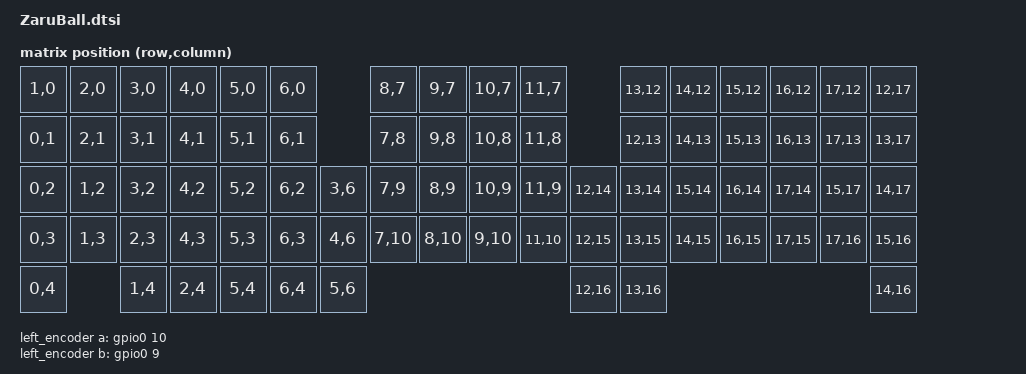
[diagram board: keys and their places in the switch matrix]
#include <dt-bindings/zmk/matrix_transform.h>

// chosen node
/ {
    chosen {
        zmk,kscan = &kscan0;
        zmk,matrix_transform = &default_transform;
    };
};

//matrix transform (Row is always the driver pin)
/ {
    default_transform: keymap_transform0 {
        compatible = "zmk,matrix-transform";
        columns = <16>;
        rows = <18>;
        map = <
            RC(1,0) RC(2,0) RC(3,0) RC(4,0) RC(5,0) RC(6,0)           RC(8,7)  RC(9,7)  RC(10,7) RC(11,7)               RC(13,12) RC(14,12) RC(15,12) RC(16,12) RC(17,12) RC(12,17)
            RC(0,1) RC(2,1) RC(3,1) RC(4,1) RC(5,1) RC(6,1)           RC(7,8)  RC(9,8)  RC(10,8) RC(11,8)               RC(12,13) RC(14,13) RC(15,13) RC(16,13) RC(17,13) RC(13,17)
            RC(0,2) RC(1,2) RC(3,2) RC(4,2) RC(5,2) RC(6,2) RC(3,6)   RC(7,9)  RC(8,9)  RC(10,9) RC(11,9)    RC(12,14)  RC(13,14) RC(15,14) RC(16,14) RC(17,14) RC(15,17) RC(14,17)
            RC(0,3) RC(1,3) RC(2,3) RC(4,3) RC(5,3) RC(6,3) RC(4,6)   RC(7,10) RC(8,10) RC(9,10) RC(11,10)   RC(12,15)  RC(13,15) RC(14,15) RC(16,15) RC(17,15) RC(17,16) RC(15,16)
            RC(0,4)         RC(1,4) RC(2,4) RC(5,4) RC(6,4) RC(5,6)                                          RC(12,16)  RC(13,16)                                         RC(14,16)
        >;
    };
};

// kscan
/ {
    kscan0: kscan0 {
        compatible = "zmk,kscan-gpio-charlieplex";
        wakeup-source;
    };
};

// encoder
/ {
    left_encoder: encoder_left {
        compatible = "alps,ec11";
        a-gpios = <&gpio0 10 (GPIO_ACTIVE_HIGH | GPIO_PULL_UP)>;
        b-gpios = <&gpio0 9  (GPIO_ACTIVE_HIGH | GPIO_PULL_UP)>;
        steps = <80>;
        status = "disabled";
    };
};

//sensor
/ {
    sensors: sensors {
        compatible = "zmk,keymap-sensors";
        sensors = <&left_encoder>;
        triggers-per-rotation = <20>;
    };
};

//trackball
#include <zephyr/dt-bindings/input/input-event-codes.h>

&pinctrl {
    spi0_default: spi0_default {
        group1 {
            psels = <NRF_PSEL(SPIM_SCK, 1, 15)>,
                <NRF_PSEL(SPIM_MOSI, 1, 13)>,
                <NRF_PSEL(SPIM_MISO, 1, 13)>;
        };
    };

    spi0_sleep: spi0_sleep {
        group1 {
            psels = <NRF_PSEL(SPIM_SCK, 1, 15)>,
                <NRF_PSEL(SPIM_MOSI, 1, 13)>,
                <NRF_PSEL(SPIM_MISO, 1, 13)>;
            low-power-enable;
        };
    };
};

&spi0 {
    status = "okay";
    compatible = "nordic,nrf-spim";
    pinctrl-0 = <&spi0_default>;
    pinctrl-1 = <&spi0_sleep>;
    pinctrl-names = "default", "sleep";
    cs-gpios = <&gpio1 14 GPIO_ACTIVE_LOW>;

    trackball: trackball@0 {
        status = "okay";
        compatible = "pixart,pmw3610";
        reg = <0>;
        spi-max-frequency = <2000000>;
        irq-gpios = <&gpio1 12 (GPIO_ACTIVE_LOW | GPIO_PULL_UP)>;
        cpi = <600>;
        evt-type = <INPUT_EV_REL>;
        x-input-code = <INPUT_REL_Y>;
        y-input-code = <INPUT_REL_X>;

        force-awake;
        /* keep the sensor awake while ZMK activity state is ACTIVE,
        fallback to normal downshift mode after ZMK goes into IDLE / SLEEP mode.
        thus, the sensor would be a `wakeup-source` */
    };
};

/ {
    trackball_listener: trackball_listener {
        compatible = "zmk,input-listener";
        status = "disabled";
        device = <&trackball>;

        /* レイヤー8 (SCROLL) でスクロールモード有効 */
        scroll-layers = <8>;
    };
};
